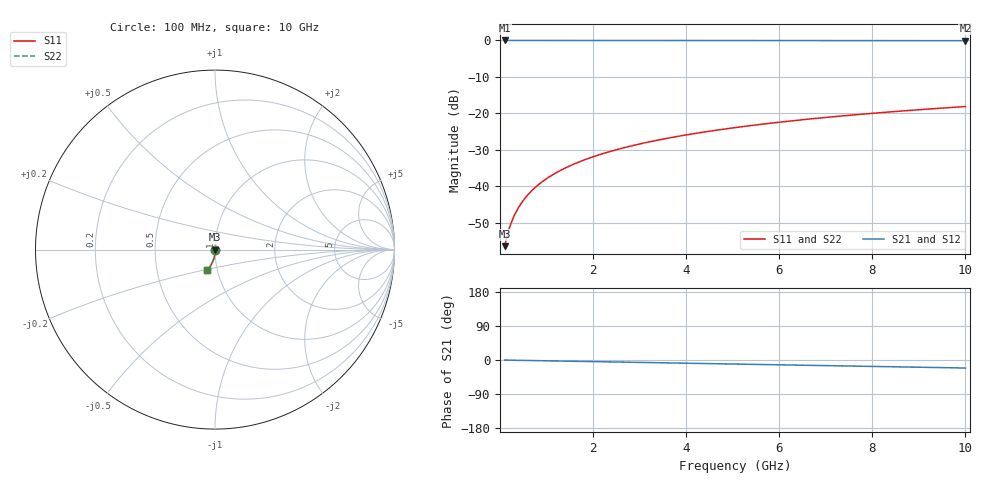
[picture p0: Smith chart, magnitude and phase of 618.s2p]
# Hz S RI R 50.00
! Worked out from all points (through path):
!   100 points, 100 MHz to 10 GHz, reference 50 ohm
!   highest |S21| = -0.01 dB at 100 MHz (marker M1); lowest = -0.1 dB at 10 GHz (marker M2)
!   group delay of S21, straight-line fit = 5.88 ps
!   lowest |S11| = -56.5 dB at 100 MHz (marker M3), VSWR 1.00, Z = 50.1 - j0.127 ohm
!   |S11| at or under -10 dB: start of sweep to end of sweep
!   |S22| runs from -56.5 to -18.1 dB; largest |S21 - S12| = 0
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1e8  0.000807 -0.00127  0.9992 -0.00369  0.9992 -0.00369  0.000807 -0.00127
2e8  0.000796 -0.00254  0.9991 -0.00739  0.9991 -0.00739  0.000796 -0.00254
3e8  0.000774 -0.00381  0.9991 -0.0111  0.9991 -0.0111  0.000774 -0.00381
4e8  0.000742 -0.00507  0.999 -0.0148  0.999 -0.0148  0.000742 -0.00507
5e8  0.000701 -0.00634  0.999 -0.0185  0.999 -0.0185  0.000701 -0.00634
6e8  0.00065 -0.00761  0.9989 -0.0222  0.9989 -0.0222  0.00065 -0.00761
7e8  0.000589 -0.00888  0.9988 -0.0258  0.9988 -0.0258  0.000589 -0.00888
8e8  0.000518 -0.0101  0.9987 -0.0295  0.9987 -0.0295  0.000518 -0.0101
9e8  0.000438 -0.0114  0.9985 -0.0332  0.9985 -0.0332  0.000438 -0.0114
1.1e9  0.00025 -0.0139  0.9982 -0.0406  0.9982 -0.0406  0.00025 -0.0139
1.4e9  -0.000103 -0.0177  0.9976 -0.0517  0.9976 -0.0517  -0.000103 -0.0177
1.8e9  -0.000705 -0.0228  0.9966 -0.0664  0.9966 -0.0664  -0.000705 -0.0228
2.1e9  -0.00125 -0.0265  0.9957 -0.0775  0.9957 -0.0775  -0.00125 -0.0265
2.5e9  -0.00212 -0.0316  0.9943 -0.0922  0.9943 -0.0922  -0.00212 -0.0316
2.9e9  -0.00313 -0.0365  0.9927 -0.1068  0.9927 -0.1068  -0.00313 -0.0365
3.4e9  -0.0046 -0.0427  0.9902 -0.1251  0.9902 -0.1251  -0.0046 -0.0427
4.2e9  -0.00742 -0.0525  0.9856 -0.1543  0.9856 -0.1543  -0.00742 -0.0525
5.1e9  -0.0113 -0.0633  0.9792 -0.1869  0.9792 -0.1869  -0.0113 -0.0633
5.9e9  -0.0153 -0.0726  0.9726 -0.2156  0.9726 -0.2156  -0.0153 -0.0726
6.7e9  -0.0199 -0.0817  0.965 -0.244  0.965 -0.244  -0.0199 -0.0817
8.4e9  -0.0313 -0.1  0.9459 -0.3034  0.9459 -0.3034  -0.0313 -0.1
1e10  -0.044 -0.1157  0.9243 -0.3578  0.9243 -0.3578  -0.044 -0.1157
